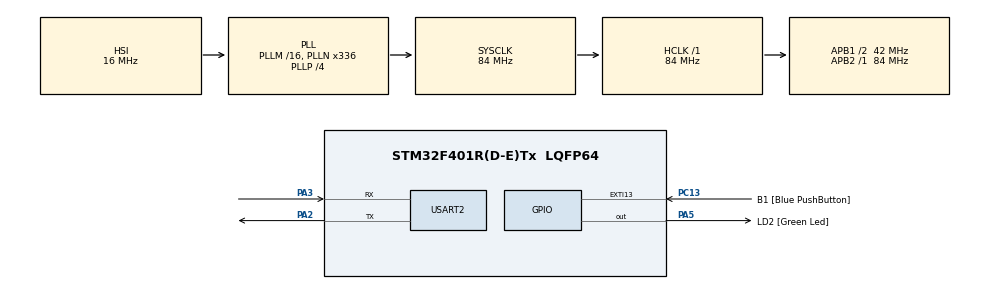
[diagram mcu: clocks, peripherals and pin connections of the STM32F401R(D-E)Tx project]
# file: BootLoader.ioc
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Mcu.Family=STM32F4
Mcu.Name=STM32F401R(D-E)Tx
Mcu.Package=LQFP64
NVIC.PriorityGroup=NVIC_PRIORITYGROUP_4
NVIC.WWDG_IRQn=true\:0\:0\:false\:false\:true\:true\:true\:true
PA13.GPIO_Label=TMS
PA13.Mode=Serial_Wire
PA13.Signal=SYS_JTMS-SWDIO
PA14.GPIO_Label=TCK
PA14.Mode=Serial_Wire
PA14.Signal=SYS_JTCK-SWCLK
PA2.GPIO_Mode=GPIO_MODE_AF_PP
PA2.GPIO_ModeDefaultPP=GPIO_MODE_AF_PP
PA2.GPIO_PuPd=GPIO_NOPULL
PA2.GPIO_Speed=GPIO_SPEED_FREQ_VERY_HIGH
PA2.Mode=Asynchronous
PA2.Signal=USART2_TX
PA3.GPIO_Mode=GPIO_MODE_AF_PP
PA3.GPIO_ModeDefaultPP=GPIO_MODE_AF_PP
PA3.GPIO_PuPd=GPIO_NOPULL
PA3.GPIO_Speed=GPIO_SPEED_FREQ_VERY_HIGH
PA3.Mode=Asynchronous
PA3.Signal=USART2_RX
PA5.GPIO_Label=LD2 [Green Led]
PA5.GPIO_Mode=GPIO_MODE_OUTPUT_PP
PA5.GPIO_PuPd=GPIO_NOPULL
PA5.GPIO_Speed=GPIO_SPEED_FREQ_LOW
PA5.Signal=GPIO_Output
PB3.GPIO_Label=SWO
PB3.Signal=SYS_JTDO-SWO
PC13-ANTI_TAMP.GPIO_Label=B1 [Blue PushButton]
PC13-ANTI_TAMP.GPIO_ModeDefaultEXTI=GPIO_MODE_IT_FALLING
PC13-ANTI_TAMP.GPIO_PuPd=GPIO_NOPULL
PC13-ANTI_TAMP.Signal=GPXTI13
PC14-OSC32_IN.Signal=RCC_OSC32_IN
PC15-OSC32_OUT.Signal=RCC_OSC32_OUT
PH0\ -\ OSC_IN.Signal=RCC_OSC_IN
PH1\ -\ OSC_OUT.Signal=RCC_OSC_OUT
ProjectManager.HeapSize=0x200
ProjectManager.StackSize=0x400
ProjectManager.TargetToolchain=CMake
RCC.AHBFreq_Value=84000000
RCC.APB1CLKDivider=RCC_HCLK_DIV2
RCC.APB1Freq_Value=42000000
RCC.APB1TimFreq_Value=84000000
RCC.APB2Freq_Value=84000000
RCC.APB2TimFreq_Value=84000000
RCC.CortexFreq_Value=84000000
RCC.HCLKFreq_Value=84000000
RCC.HSE_VALUE=8000000
RCC.HSI_VALUE=16000000
RCC.LSE_VALUE=32768
RCC.PLLN=336
RCC.PLLP=RCC_PLLP_DIV4
RCC.PLLQ=7
RCC.SYSCLKFreq_VALUE=84000000
RCC.SYSCLKSource=RCC_SYSCLKSOURCE_PLLCLK
RCC.VCOOutputFreq_Value=336000000
USART2.VirtualMode=VM_ASYNC
VP_MBEDTLS_VS_MBEDTLS.Mode=Enabled
VP_WWDG_VS_WWDG.Mode=WWDG_Activate
WWDG.Counter=0x7f
WWDG.EWIMode=WWDG_EWI_ENABLE
WWDG.Prescaler=WWDG_PRESCALER_8
WWDG.Window=0x7f
board=NUCLEO-F401RE

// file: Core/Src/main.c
/* USER CODE BEGIN Header */
/**
  ******************************************************************************
  * @file           : main.c
  * @brief          : Main program body
  ******************************************************************************
  * @attention
  *
  * Copyright (c) 2025 STMicroelectronics.
  * All rights reserved.
  *
  * This software is licensed under terms that can be found in the LICENSE file
  * in the root directory of this software component.
  * If no LICENSE file comes with this software, it is provided AS-IS.
  *
  ******************************************************************************
  */
/* USER CODE END Header */
#include "main.h"
#include "mbedtls.h"

/* USER CODE BEGIN Includes */
#include "bootutil/bootutil.h"
#include "mcuboot_config/mcuboot_logging.h"
#include "mcuboot_config/mcuboot_config.h"
/* USER CODE END Includes */

/* USER CODE BEGIN PD */
MCUBOOT_LOG_MODULE_REGISTER(mcuboot);
/* USER CODE END PD */

UART_HandleTypeDef huart2;

WWDG_HandleTypeDef hwwdg;

void SystemClock_Config(void);
static void MX_GPIO_Init(void);
static void MX_USART2_UART_Init(void);
static void MX_WWDG_Init(void);
/* USER CODE BEGIN PFP */
static void do_boot(struct boot_rsp *rsp);
/* USER CODE END PFP */

/* USER CODE BEGIN 0 */
void Mcuboot_WatchdogFeed()
{
  HAL_WWDG_Refresh(&hwwdg);
}

typedef void (*app_entry_t)(void); // Define a function pointer type for the application entry point

static void do_boot(struct boot_rsp *rsp) {
  MCUBOOT_LOG_DBG("Starting Main Application");
  MCUBOOT_LOG_DBG("  Image Start Offset: 0x%x", (int)rsp->br_image_off);

  uint32_t vector_table = rsp->br_image_off + rsp->br_hdr->ih_hdr_size;

  uint32_t *app_code = (uint32_t *)vector_table;
  uint32_t app_sp = app_code[0];
  uint32_t app_start = app_code[1];

  MCUBOOT_LOG_DBG("  Vector Table Start Address: 0x%x. PC=0x%x, SP=0x%x",
    (int)vector_table, app_start, app_sp);
  __disable_irq();
  // We need to move the vector table to reflect the location of the main application
  /*!< switch exception handlers to the application  */
  SCB->VTOR = (uint32_t)app_code[0];
  __set_MSP(app_sp);
  app_entry_t app_entry = (app_entry_t)app_start;
  app_entry();
}
/* USER CODE END 0 */

int main(void)
{

  /* MCU Configuration--------------------------------------------------------*/

  /* Reset of all peripherals, Initializes the Flash interface and the Systick. */
  HAL_Init();

  /* Configure the system clock */
  SystemClock_Config();

  /* Initialize all configured peripherals */
  MX_GPIO_Init();
  MX_USART2_UART_Init();
  MX_WWDG_Init();
  MX_MBEDTLS_Init();
  /* USER CODE BEGIN 2 */
  struct boot_rsp rsp;
  int rv = boot_go(&rsp);

  if(rv == FIH_SUCCESS){
    do_boot(&rsp);
  }
  /* USER CODE END 2 */

  /* Infinite loop */
  /* USER CODE BEGIN WHILE */
  while (1)
  {
    static uint8_t count = 0;

    HAL_GPIO_TogglePin(LD2_GPIO_Port, LD2_Pin);
    HAL_Delay(1000);
    count++;
    if(count % 10 == 0){
      count = 0;
      MCUBOOT_LOG_DBG("Booting Failed\n");
    }

    /* USER CODE END WHILE */

  }
}

void SystemClock_Config(void)
{
  RCC_OscInitTypeDef RCC_OscInitStruct = {0};
  RCC_ClkInitTypeDef RCC_ClkInitStruct = {0};

  /** Configure the main internal regulator output voltage
  */
  __HAL_RCC_PWR_CLK_ENABLE();
  __HAL_PWR_VOLTAGESCALING_CONFIG(PWR_REGULATOR_VOLTAGE_SCALE2);

  /** Initializes the RCC Oscillators according to the specified parameters
  * in the RCC_OscInitTypeDef structure.
  */
  RCC_OscInitStruct.OscillatorType = RCC_OSCILLATORTYPE_HSI;
  RCC_OscInitStruct.HSIState = RCC_HSI_ON;
  RCC_OscInitStruct.HSICalibrationValue = RCC_HSICALIBRATION_DEFAULT;
  RCC_OscInitStruct.PLL.PLLState = RCC_PLL_ON;
  RCC_OscInitStruct.PLL.PLLSource = RCC_PLLSOURCE_HSI;
  RCC_OscInitStruct.PLL.PLLM = 16;
  RCC_OscInitStruct.PLL.PLLN = 336;
  RCC_OscInitStruct.PLL.PLLP = RCC_PLLP_DIV4;
  RCC_OscInitStruct.PLL.PLLQ = 7;
  if (HAL_RCC_OscConfig(&RCC_OscInitStruct) != HAL_OK)
  {
    Error_Handler();
  }

  /** Initializes the CPU, AHB and APB buses clocks
  */
  RCC_ClkInitStruct.ClockType = RCC_CLOCKTYPE_HCLK|RCC_CLOCKTYPE_SYSCLK
                              |RCC_CLOCKTYPE_PCLK1|RCC_CLOCKTYPE_PCLK2;
  RCC_ClkInitStruct.SYSCLKSource = RCC_SYSCLKSOURCE_PLLCLK;
  RCC_ClkInitStruct.AHBCLKDivider = RCC_SYSCLK_DIV1;
  RCC_ClkInitStruct.APB1CLKDivider = RCC_HCLK_DIV2;
  RCC_ClkInitStruct.APB2CLKDivider = RCC_HCLK_DIV1;

  if (HAL_RCC_ClockConfig(&RCC_ClkInitStruct, FLASH_LATENCY_2) != HAL_OK)
  {
    Error_Handler();
  }
}

static void MX_USART2_UART_Init(void)
{

  huart2.Instance = USART2;
  huart2.Init.BaudRate = 115200;
  huart2.Init.WordLength = UART_WORDLENGTH_8B;
  huart2.Init.StopBits = UART_STOPBITS_1;
  huart2.Init.Parity = UART_PARITY_NONE;
  huart2.Init.Mode = UART_MODE_TX_RX;
  huart2.Init.HwFlowCtl = UART_HWCONTROL_NONE;
  huart2.Init.OverSampling = UART_OVERSAMPLING_16;
  if (HAL_UART_Init(&huart2) != HAL_OK)
  {
    Error_Handler();
  }

}

static void MX_WWDG_Init(void)
{

  hwwdg.Instance = WWDG;
  hwwdg.Init.Prescaler = WWDG_PRESCALER_8;
  hwwdg.Init.Window = 0x7f;
  hwwdg.Init.Counter = 0x7f;
  hwwdg.Init.EWIMode = WWDG_EWI_ENABLE;
  if (HAL_WWDG_Init(&hwwdg) != HAL_OK)
  {
    Error_Handler();
  }

}

static void MX_GPIO_Init(void)
{
  GPIO_InitTypeDef GPIO_InitStruct = {0};

  /* GPIO Ports Clock Enable */
  __HAL_RCC_GPIOC_CLK_ENABLE();
  __HAL_RCC_GPIOH_CLK_ENABLE();
  __HAL_RCC_GPIOA_CLK_ENABLE();
  __HAL_RCC_GPIOB_CLK_ENABLE();

  /*Configure GPIO pin Output Level */
  HAL_GPIO_WritePin(LD2_GPIO_Port, LD2_Pin, GPIO_PIN_RESET);

  /*Configure GPIO pin : B1_Pin */
  GPIO_InitStruct.Pin = B1_Pin;
  GPIO_InitStruct.Mode = GPIO_MODE_IT_FALLING;
  GPIO_InitStruct.Pull = GPIO_NOPULL;
  HAL_GPIO_Init(B1_GPIO_Port, &GPIO_InitStruct);

  /*Configure GPIO pin : LD2_Pin */
  GPIO_InitStruct.Pin = LD2_Pin;
  GPIO_InitStruct.Mode = GPIO_MODE_OUTPUT_PP;
  GPIO_InitStruct.Pull = GPIO_NOPULL;
  GPIO_InitStruct.Speed = GPIO_SPEED_FREQ_LOW;
  HAL_GPIO_Init(LD2_GPIO_Port, &GPIO_InitStruct);

}

void Error_Handler(void)
{
  __disable_irq();
  while (1)
  {
  }
}
